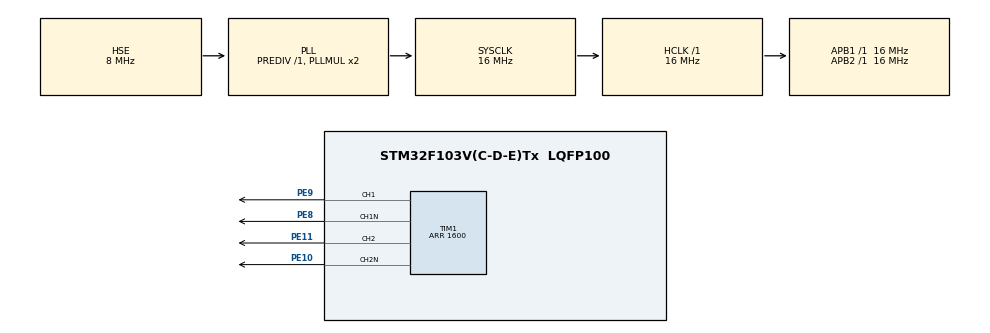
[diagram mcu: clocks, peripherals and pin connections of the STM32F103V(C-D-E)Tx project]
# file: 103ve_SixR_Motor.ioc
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Mcu.Family=STM32F1
Mcu.Name=STM32F103V(C-D-E)Tx
Mcu.Package=LQFP100
NVIC.PriorityGroup=NVIC_PRIORITYGROUP_4
NVIC.TIM1_TRG_COM_IRQn=true\:0\:0\:false\:false\:true\:true
OSC_IN.Mode=HSE-External-Oscillator
OSC_IN.Signal=RCC_OSC_IN
OSC_OUT.Mode=HSE-External-Oscillator
OSC_OUT.Signal=RCC_OSC_OUT
PA13.Mode=Serial_Wire
PA13.Signal=SYS_JTMS-SWDIO
PA14.Mode=Serial_Wire
PA14.Signal=SYS_JTCK-SWCLK
PE10.Mode=PWM Generation2 CH2 CH2N
PE10.Signal=TIM1_CH2N
PE11.Signal=S_TIM1_CH2
PE8.Mode=PWM Generation1 CH1 CH1N
PE8.Signal=TIM1_CH1N
PE9.Signal=S_TIM1_CH1
ProjectManager.HeapSize=0x200
ProjectManager.StackSize=0x400
ProjectManager.TargetToolchain=MDK-ARM V5
RCC.AHBFreq_Value=16000000
RCC.APB1Freq_Value=16000000
RCC.APB1TimFreq_Value=16000000
RCC.APB2Freq_Value=16000000
RCC.APB2TimFreq_Value=16000000
RCC.HCLKFreq_Value=16000000
RCC.PLLSourceVirtual=RCC_PLLSOURCE_HSE
RCC.SYSCLKFreq_VALUE=16000000
RCC.SYSCLKSource=RCC_SYSCLKSOURCE_PLLCLK
RCC.USBFreq_Value=16000000
SH.S_TIM1_CH1.0=TIM1_CH1,PWM Generation1 CH1 CH1N
SH.S_TIM1_CH2.0=TIM1_CH2,PWM Generation2 CH2 CH2N
TIM1.AutoReloadPreload=TIM_AUTORELOAD_PRELOAD_ENABLE
TIM1.Channel-PWM\ Generation1\ CH1\ CH1N=TIM_CHANNEL_1
TIM1.Channel-PWM\ Generation2\ CH2\ CH2N=TIM_CHANNEL_2
TIM1.OCNPolarity_1=TIM_OCNPOLARITY_HIGH
TIM1.OCNPolarity_2=TIM_OCNPOLARITY_HIGH
TIM1.Period=1600
TIM2.Period=1600
TIM2.TIM_MasterOutputTrigger=TIM_TRGO_UPDATE
TIM2.TIM_MasterSlaveMode=TIM_MASTERSLAVEMODE_ENABLE
VP_TIM1_VS_ClockSourceINT.Mode=Internal
VP_TIM1_VS_ClockSourceITR.Mode=TriggerSource_ITR1
VP_TIM2_VS_ClockSourceINT.Mode=Internal
board=103ve_SixR_Motor

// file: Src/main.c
/**
  ******************************************************************************
  * File Name          : main.c
  * Description        : Main program body
  ******************************************************************************
  ** This notice applies to any and all portions of this file
  * that are not between comment pairs USER CODE BEGIN and
  * USER CODE END. Other portions of this file, whether
  * inserted by the user or by software development tools
  * are owned by their respective copyright owners.
  *
  * COPYRIGHT(c) 2017 STMicroelectronics
  *
  * Redistribution and use in source and binary forms, with or without modification,
  * are permitted provided that the following conditions are met:
  *   1. Redistributions of source code must retain the above copyright notice,
  *      this list of conditions and the following disclaimer.
  *   2. Redistributions in binary form must reproduce the above copyright notice,
  *      this list of conditions and the following disclaimer in the documentation
  *      and/or other materials provided with the distribution.
  *   3. Neither the name of STMicroelectronics nor the names of its contributors
  *      may be used to endorse or promote products derived from this software
  *      without specific prior written permission.
  *
  * THIS SOFTWARE IS PROVIDED BY THE COPYRIGHT HOLDERS AND CONTRIBUTORS "AS IS"
  * AND ANY EXPRESS OR IMPLIED WARRANTIES, INCLUDING, BUT NOT LIMITED TO, THE
  * IMPLIED WARRANTIES OF MERCHANTABILITY AND FITNESS FOR A PARTICULAR PURPOSE ARE
  * DISCLAIMED. IN NO EVENT SHALL THE COPYRIGHT HOLDER OR CONTRIBUTORS BE LIABLE
  * FOR ANY DIRECT, INDIRECT, INCIDENTAL, SPECIAL, EXEMPLARY, OR CONSEQUENTIAL
  * DAMAGES (INCLUDING, BUT NOT LIMITED TO, PROCUREMENT OF SUBSTITUTE GOODS OR
  * SERVICES; LOSS OF USE, DATA, OR PROFITS; OR BUSINESS INTERRUPTION) HOWEVER
  * CAUSED AND ON ANY THEORY OF LIABILITY, WHETHER IN CONTRACT, STRICT LIABILITY,
  * OR TORT (INCLUDING NEGLIGENCE OR OTHERWISE) ARISING IN ANY WAY OUT OF THE USE
  * OF THIS SOFTWARE, EVEN IF ADVISED OF THE POSSIBILITY OF SUCH DAMAGE.
  *
  ******************************************************************************
  */

#include "main.h"
#include "stm32f1xx_hal.h"
#include "stm32f1xx_ll_tim.h"

TIM_HandleTypeDef htim1;
TIM_HandleTypeDef htim2;

/* USER CODE BEGIN PV */
/* Private variables ---------------------------------------------------------*/
const uint16_t sineTable[100] = 	{25, 75, 126, 176, 225, 275, 324, 374, 422, 471,
																	518, 566, 612, 659, 704, 749, 793, 836, 879, 920,
																	961, 1001, 1039, 1077, 1114, 1149, 1184, 1217, 1249, 1280,
																	1309, 1337, 1364, 1390, 1414, 1437, 1458, 1478, 1497, 1514,
																	1529, 1543, 1556, 1567, 1576, 1584, 1591, 1595, 1598, 1600,
																	1600, 1598, 1595, 1591, 1584, 1576, 1567, 1556, 1543, 1529,
																	1514, 1497, 1478, 1458, 1437, 1414, 1390, 1364, 1337, 1309,
																	1280, 1249, 1217, 1184, 1149, 1114, 1077, 1039, 1001, 961,
																	920, 879, 836, 793, 749, 704, 659, 612, 566, 518,
																	471, 422, 374, 324, 275, 225, 176, 126, 75, 25};
uint16_t cycle1 = 500;

/* USER CODE END PV */

void SystemClock_Config(void);
static void MX_GPIO_Init(void);
static void MX_TIM1_Init(void);
static void MX_TIM2_Init(void);
void HAL_TIM_MspPostInit(TIM_HandleTypeDef *htim);

/* USER CODE BEGIN PFP */
/* Private function prototypes -----------------------------------------------*/
void HAL_TIMEx_CommutationCallback(TIM_HandleTypeDef *htim);
/* USER CODE END PFP */

int main(void)
{

  /* MCU Configuration----------------------------------------------------------*/

  /* Reset of all peripherals, Initializes the Flash interface and the Systick. */
  HAL_Init();

  /* Configure the system clock */
  SystemClock_Config();

  /* Initialize all configured peripherals */
  MX_GPIO_Init();
  MX_TIM1_Init();
  MX_TIM2_Init();

  /* USER CODE BEGIN 2 */
	HAL_TIMEx_ConfigCommutationEvent_IT(&htim1, TIM_TS_ITR1, TIM_COMMUTATION_TRGI);
  HAL_TIM_Base_Start_IT(&htim1);
	HAL_TIM_Base_Start(&htim2);
	//HAL_TIM_PWM_Start(&htim1);
	//HAL_TIMEx_PWMN_Start(&htim1);
  /* USER CODE END 2 */

  /* Infinite loop */
  while (1)
  {

  }

}

/** System Clock Configuration
*/
void SystemClock_Config(void)
{

  RCC_OscInitTypeDef RCC_OscInitStruct;
  RCC_ClkInitTypeDef RCC_ClkInitStruct;

    /**Initializes the CPU, AHB and APB busses clocks
    */
  RCC_OscInitStruct.OscillatorType = RCC_OSCILLATORTYPE_HSE;
  RCC_OscInitStruct.HSEState = RCC_HSE_ON;
  RCC_OscInitStruct.HSEPredivValue = RCC_HSE_PREDIV_DIV1;
  RCC_OscInitStruct.HSIState = RCC_HSI_ON;
  RCC_OscInitStruct.PLL.PLLState = RCC_PLL_ON;
  RCC_OscInitStruct.PLL.PLLSource = RCC_PLLSOURCE_HSE;
  RCC_OscInitStruct.PLL.PLLMUL = RCC_PLL_MUL2;
  if (HAL_RCC_OscConfig(&RCC_OscInitStruct) != HAL_OK)
  {
    _Error_Handler(__FILE__, __LINE__);
  }

    /**Initializes the CPU, AHB and APB busses clocks
    */
  RCC_ClkInitStruct.ClockType = RCC_CLOCKTYPE_HCLK|RCC_CLOCKTYPE_SYSCLK
                              |RCC_CLOCKTYPE_PCLK1|RCC_CLOCKTYPE_PCLK2;
  RCC_ClkInitStruct.SYSCLKSource = RCC_SYSCLKSOURCE_PLLCLK;
  RCC_ClkInitStruct.AHBCLKDivider = RCC_SYSCLK_DIV1;
  RCC_ClkInitStruct.APB1CLKDivider = RCC_HCLK_DIV1;
  RCC_ClkInitStruct.APB2CLKDivider = RCC_HCLK_DIV1;

  if (HAL_RCC_ClockConfig(&RCC_ClkInitStruct, FLASH_LATENCY_0) != HAL_OK)
  {
    _Error_Handler(__FILE__, __LINE__);
  }

    /**Configure the Systick interrupt time
    */
  HAL_SYSTICK_Config(HAL_RCC_GetHCLKFreq()/1000);

    /**Configure the Systick
    */
  HAL_SYSTICK_CLKSourceConfig(SYSTICK_CLKSOURCE_HCLK);

  /* SysTick_IRQn interrupt configuration */
  HAL_NVIC_SetPriority(SysTick_IRQn, 0, 0);
}

/* TIM1 init function */
static void MX_TIM1_Init(void)
{

  TIM_ClockConfigTypeDef sClockSourceConfig;
  TIM_SlaveConfigTypeDef sSlaveConfig;
  TIM_MasterConfigTypeDef sMasterConfig;
  TIM_OC_InitTypeDef sConfigOC;
  TIM_BreakDeadTimeConfigTypeDef sBreakDeadTimeConfig;

  htim1.Instance = TIM1;
  htim1.Init.Prescaler = 0;
  htim1.Init.CounterMode = TIM_COUNTERMODE_UP;
  htim1.Init.Period = 1600;
  htim1.Init.ClockDivision = TIM_CLOCKDIVISION_DIV1;
  htim1.Init.RepetitionCounter = 0;
  htim1.Init.AutoReloadPreload = TIM_AUTORELOAD_PRELOAD_ENABLE;
  if (HAL_TIM_Base_Init(&htim1) != HAL_OK)
  {
    _Error_Handler(__FILE__, __LINE__);
  }

  sClockSourceConfig.ClockSource = TIM_CLOCKSOURCE_INTERNAL;
  if (HAL_TIM_ConfigClockSource(&htim1, &sClockSourceConfig) != HAL_OK)
  {
    _Error_Handler(__FILE__, __LINE__);
  }

  if (HAL_TIM_PWM_Init(&htim1) != HAL_OK)
  {
    _Error_Handler(__FILE__, __LINE__);
  }

  sSlaveConfig.SlaveMode = TIM_SLAVEMODE_DISABLE;
  sSlaveConfig.InputTrigger = TIM_TS_ITR1;
  if (HAL_TIM_SlaveConfigSynchronization(&htim1, &sSlaveConfig) != HAL_OK)
  {
    _Error_Handler(__FILE__, __LINE__);
  }

  sMasterConfig.MasterOutputTrigger = TIM_TRGO_RESET;
  sMasterConfig.MasterSlaveMode = TIM_MASTERSLAVEMODE_DISABLE;
  if (HAL_TIMEx_MasterConfigSynchronization(&htim1, &sMasterConfig) != HAL_OK)
  {
    _Error_Handler(__FILE__, __LINE__);
  }

  sConfigOC.OCMode = TIM_OCMODE_PWM1;
  sConfigOC.Pulse = 0;
  sConfigOC.OCPolarity = TIM_OCPOLARITY_HIGH;
  sConfigOC.OCNPolarity = TIM_OCNPOLARITY_HIGH;
  sConfigOC.OCFastMode = TIM_OCFAST_DISABLE;
  sConfigOC.OCIdleState = TIM_OCIDLESTATE_RESET;
  sConfigOC.OCNIdleState = TIM_OCNIDLESTATE_RESET;
  if (HAL_TIM_PWM_ConfigChannel(&htim1, &sConfigOC, TIM_CHANNEL_1) != HAL_OK)
  {
    _Error_Handler(__FILE__, __LINE__);
  }

  if (HAL_TIM_PWM_ConfigChannel(&htim1, &sConfigOC, TIM_CHANNEL_2) != HAL_OK)
  {
    _Error_Handler(__FILE__, __LINE__);
  }

  sBreakDeadTimeConfig.OffStateRunMode = TIM_OSSR_DISABLE;
  sBreakDeadTimeConfig.OffStateIDLEMode = TIM_OSSI_DISABLE;
  sBreakDeadTimeConfig.LockLevel = TIM_LOCKLEVEL_OFF;
  sBreakDeadTimeConfig.DeadTime = 0;
  sBreakDeadTimeConfig.BreakState = TIM_BREAK_DISABLE;
  sBreakDeadTimeConfig.BreakPolarity = TIM_BREAKPOLARITY_HIGH;
  sBreakDeadTimeConfig.AutomaticOutput = TIM_AUTOMATICOUTPUT_DISABLE;
  if (HAL_TIMEx_ConfigBreakDeadTime(&htim1, &sBreakDeadTimeConfig) != HAL_OK)
  {
    _Error_Handler(__FILE__, __LINE__);
  }

  HAL_TIM_MspPostInit(&htim1);

}

/* TIM2 init function */
static void MX_TIM2_Init(void)
{

  TIM_ClockConfigTypeDef sClockSourceConfig;
  TIM_MasterConfigTypeDef sMasterConfig;

  htim2.Instance = TIM2;
  htim2.Init.Prescaler = 0;
  htim2.Init.CounterMode = TIM_COUNTERMODE_UP;
  htim2.Init.Period = 1600;
  htim2.Init.ClockDivision = TIM_CLOCKDIVISION_DIV1;
  htim2.Init.AutoReloadPreload = TIM_AUTORELOAD_PRELOAD_DISABLE;
  if (HAL_TIM_Base_Init(&htim2) != HAL_OK)
  {
    _Error_Handler(__FILE__, __LINE__);
  }

  sClockSourceConfig.ClockSource = TIM_CLOCKSOURCE_INTERNAL;
  if (HAL_TIM_ConfigClockSource(&htim2, &sClockSourceConfig) != HAL_OK)
  {
    _Error_Handler(__FILE__, __LINE__);
  }

  sMasterConfig.MasterOutputTrigger = TIM_TRGO_UPDATE;
  sMasterConfig.MasterSlaveMode = TIM_MASTERSLAVEMODE_ENABLE;
  if (HAL_TIMEx_MasterConfigSynchronization(&htim2, &sMasterConfig) != HAL_OK)
  {
    _Error_Handler(__FILE__, __LINE__);
  }

}

/** Configure pins as
        * Analog
        * Input
        * Output
        * EVENT_OUT
        * EXTI
*/
static void MX_GPIO_Init(void)
{

  /* GPIO Ports Clock Enable */
  __HAL_RCC_GPIOE_CLK_ENABLE();
  __HAL_RCC_GPIOA_CLK_ENABLE();

}

/* USER CODE BEGIN 4 */
void HAL_TIMEx_CommutationCallback(TIM_HandleTypeDef *htim)
{
	switch (cycle1)
	{
		case 0:
			LL_TIM_CC_EnableChannel(htim->Instance, LL_TIM_CHANNEL_CH1);
			LL_TIM_CC_DisableChannel(htim->Instance, LL_TIM_CHANNEL_CH1N);
			//LL_TIM_OC_SetCompareCH1(htim->Instance, sineTable[cycle1]);
			break;

		case 200:
			LL_TIM_CC_DisableChannel(htim->Instance, LL_TIM_CHANNEL_CH1);
			LL_TIM_CC_EnableChannel(htim->Instance, LL_TIM_CHANNEL_CH1N);
			//LL_TIM_OC_SetCompareCH1(htim->Instance, sineTable[cycle1 - 100]);
			break;

		case 500:
			LL_TIM_CC_DisableChannel(htim->Instance, (LL_TIM_CHANNEL_CH1 || LL_TIM_CHANNEL_CH1N));
			__HAL_TIM_MOE_ENABLE(htim);
			break;

		default:
			break;

	}

	if ((cycle1 >= 0) && (cycle1 < 200))
	{
		LL_TIM_OC_SetCompareCH1(htim->Instance, sineTable[cycle1]);
	}
	else if ((cycle1 >= 200) && (cycle1 < 400))
	{
		LL_TIM_OC_SetCompareCH1(htim->Instance, sineTable[cycle1 - 100]);
	}

	cycle1++;
	if (cycle1 >= 400)
	{
		cycle1 = 0;
	}

}
/* USER CODE END 4 */

void _Error_Handler(char * file, int line)
{
  while(1)
  {
  }
}

/************************ (C) COPYRIGHT STMicroelectronics *****END OF FILE****/
